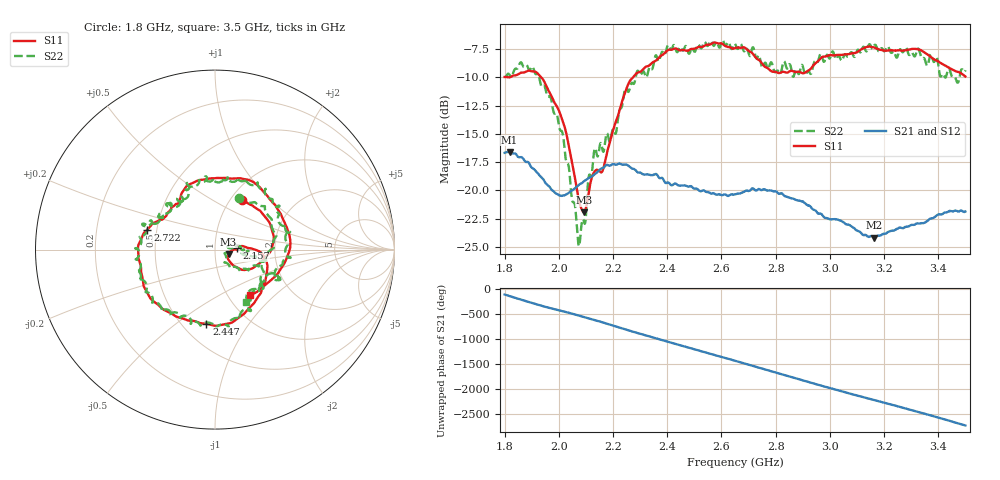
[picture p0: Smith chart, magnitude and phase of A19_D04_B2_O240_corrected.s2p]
! Created with skrf 1.9.0 (http://scikit-rf.org).
# Hz S RI R 50.0
!freq ReS11 ImS11 ReS21 ImS21 ReS12 ImS12 ReS22 ImS22
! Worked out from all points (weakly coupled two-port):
!   1601 points, 1.8 GHz to 3.5 GHz, reference 50 ohm
!   highest |S21| = -16.59 dB at 1.818 GHz (marker M1); lowest = -24.2 dB at 3.163 GHz (marker M2)
!   lowest |S11| = -22.0 dB at 2.093 GHz (marker M3), VSWR 1.17, Z = 58.1 - j2.88 ohm
!   |S11| at or under -10 dB: 1.813504 GHz to 1.81883 GHz (5.326 MHz wide, 0.293 % of centre); 1.935 GHz to 2.274 GHz (338.9 MHz wide, 16.1 % of centre)
!   |S22| runs from -24.9 to -6.7 dB; largest |S21 - S12| = 0.0024
!   S11 on the Smith chart (normalised r, x): 1.8 GHz: 1.13, +0.70; 2.157 GHz: 1.27, +0.02; 2.447 GHz: 0.65, -0.65; 2.722 GHz: 0.44, +0.12; 3.5 GHz: 1.26, -0.71
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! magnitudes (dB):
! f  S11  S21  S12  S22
! 1.8 GHz  -10.0  -16.7  -16.7  -9.9
! 1.818 GHz  -10.0  -16.6  -16.6  -9.8
! 1.903 GHz  -9.5  -18.0  -18.0  -9.1
! 1.968 GHz  -11.4  -19.8  -19.8  -11.7
! 2.014 GHz  -13.8  -20.5  -20.5  -14.9
! 2.072 GHz  -20.6  -19.6  -19.6  -24.8
! 2.084 GHz  -21.6  -19.4  -19.3  -23.0
! 2.093 GHz  -22.0  -19.2  -19.2  -22.8
! 2.13 GHz  -18.4  -18.6  -18.6  -16.5
! 2.157 GHz  -18.4  -18.1  -18.1  -15.9
! 2.209 GHz  -14.0  -17.7  -17.7  -15.0
! 2.259 GHz  -10.4  -17.9  -17.9  -11.2
! 2.367 GHz  -8.3  -18.8  -18.8  -8.6
! 2.447 GHz  -7.6  -19.6  -19.6  -7.3
! 2.65 GHz  -7.4  -20.3  -20.3  -7.0
! 2.722 GHz  -8.1  -19.9  -19.9  -7.8
! 2.803 GHz  -9.5  -20.1  -20.1  -9.5
! 2.934 GHz  -9.1  -21.6  -21.6  -9.5
! 3.163 GHz  -7.4  -24.2  -24.1  -7.2
! 3.217 GHz  -7.6  -23.7  -23.6  -7.4
! 3.468 GHz  -9.5  -21.8  -21.8  -10.4
! 3.5 GHz  -9.9  -21.9  -21.8  -9.4
